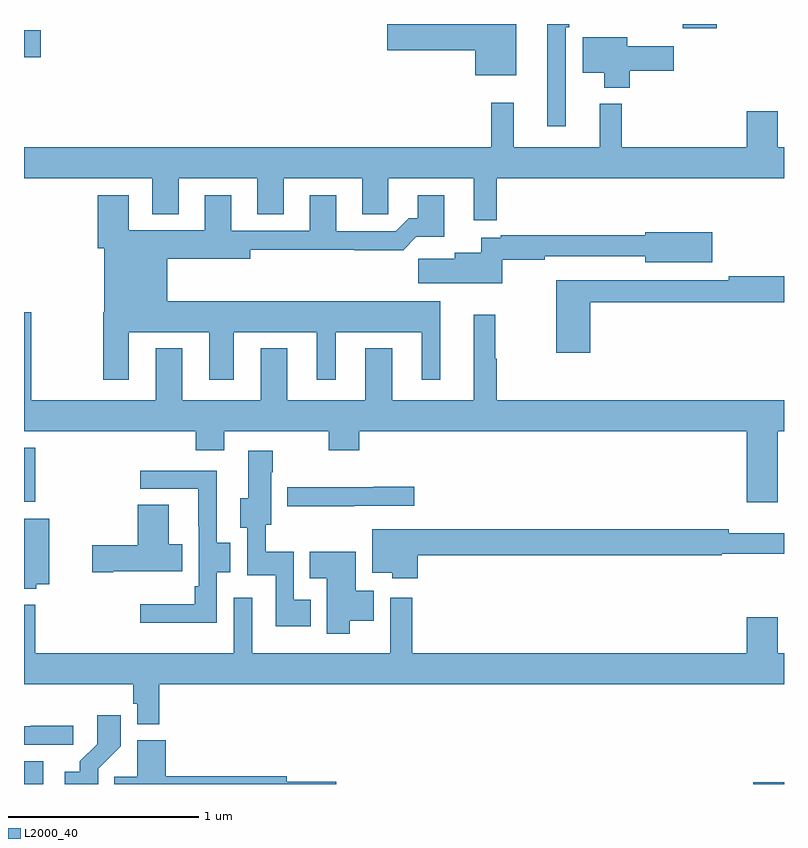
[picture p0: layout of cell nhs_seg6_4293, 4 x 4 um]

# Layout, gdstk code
import gdstk
lib = gdstk.Library(unit=1e-6, precision=1e-09)
def R(c, l, rs):  # rectangles x0, y0, x1, y1
    for r in rs: c.add(gdstk.rectangle(r[:2], r[2:], *l))
def P(c, l, *ps):  # polygons
    for p in ps: c.add(gdstk.Polygon(p, *l))
L2000_40 = (2000, 40)

nhs_seg6_4293 = lib.new_cell('nhs_seg6_4293')
R(nhs_seg6_4293, L2000_40, [(365,925.5,365.101,925.621), (368.837,925.5,369,925.508), (365,926.985,365.06,927.271), (365,929.326,365.089,929.468), (368.467,929.478,368.645,929.5)])
P(nhs_seg6_4293, L2000_40, [(367.591,929.5),(366.912,929.5),(366.912,929.363),(367.376,929.363),(367.376,929.231),(367.591,929.231)],
  [(367.851,929.483),(367.871,929.483),(367.871,929.5),(367.754,929.5),(367.754,928.962),(367.851,928.962)],
  [(368.189,929.254),(368.419,929.254),(368.419,929.383),(368.176,929.383),(368.176,929.431),(367.94,929.431),(367.94,929.243),(368.054,929.243),(368.054,929.165),(368.189,929.165)],
  [(367.489,928.688),(369,928.688),(369,928.852),(368.968,928.852),(368.968,929.041),(368.804,929.041),(368.804,928.852),(368.147,928.852),(368.147,929.08),(368.03,929.08),(368.03,928.852),(367.577,928.852),(367.577,929.086),(367.459,929.086),(367.459,928.852),(365,928.852),(365,928.688),(365.675,928.688),(365.675,928.499),(365.815,928.499),(365.815,928.688),(366.227,928.688),(366.227,928.498),(366.367,928.498),(366.367,928.688),(366.779,928.688),(366.779,928.498),(366.918,928.498),(366.918,928.688),(367.367,928.688),(367.367,928.467),(367.489,928.467)],
  [(365.551,927.878),(365.975,927.878),(365.975,927.627),(366.103,927.627),(366.103,927.878),(366.542,927.878),(366.542,927.627),(366.64,927.627),(366.64,927.878),(367.094,927.878),(367.094,927.627),(367.192,927.627),(367.192,928.042),(365.755,928.042),(365.755,928.265),(366.19,928.265),(366.19,928.312),(366.739,928.312),(366.739,928.31),(366.995,928.31),(367.064,928.379),(367.213,928.379),(367.213,928.6),(367.073,928.6),(367.073,928.477),(367.024,928.477),(366.957,928.41),(366.643,928.41),(366.643,928.6),(366.503,928.6),(366.503,928.413),(366.091,928.413),(366.091,928.6),(365.951,928.6),(365.951,928.414),(365.551,928.414),(365.551,928.6),(365.387,928.6),(365.387,928.32),(365.423,928.32),(365.423,927.982),(365.416,927.982),(365.416,927.627),(365.551,927.627)],
  [(367.516,928.258),(367.742,928.258),(367.742,928.278),(368.27,928.278),(368.27,928.247),(368.623,928.247),(368.623,928.405),(368.27,928.405),(368.27,928.387),(367.51,928.387),(367.51,928.374),(367.406,928.374),(367.406,928.297),(367.268,928.297),(367.268,928.265),(367.074,928.265),(367.074,928.136),(367.516,928.136)],
  [(367.979,928.036),(369,928.036),(369,928.172),(368.71,928.172),(368.71,928.152),(367.801,928.152),(367.801,927.771),(367.979,927.771)],
  [(368.968,927.356),(369,927.356),(369,927.52),(367.489,927.52),(367.489,927.737),(367.481,927.737),(367.481,927.97),(367.367,927.97),(367.367,927.52),(366.937,927.52),(366.937,927.793),(366.797,927.793),(366.797,927.52),(366.385,927.52),(366.385,927.793),(366.245,927.793),(366.245,927.52),(365.833,927.52),(365.833,927.793),(365.693,927.793),(365.693,927.52),(365.037,927.52),(365.037,927.982),(365,927.982),(365,927.356),(365.903,927.356),(365.903,927.257),(366.055,927.257),(366.055,927.356),(366.604,927.356),(366.604,927.257),(366.764,927.257),(366.764,927.356),(368.804,927.356),(368.804,926.982),(368.968,926.982)],
  [(366.508,926.47),(366.42,926.47),(366.42,926.722),(366.273,926.722),(366.273,926.864),(366.301,926.864),(366.301,927.14),(366.309,927.14),(366.309,927.253),(366.179,927.253),(366.179,927.003),(366.137,927.003),(366.137,926.848),(366.174,926.848),(366.174,926.6),(366.324,926.6),(366.324,926.33),(366.508,926.33)],
  [(366.015,926.614),(366.085,926.614),(366.085,926.769),(366.015,926.769),(366.015,927.15),(365.613,927.15),(365.613,927.054),(365.918,927.054),(365.918,926.857),(365.919,926.857),(365.919,926.542),(365.899,926.542),(365.899,926.446),(365.613,926.446),(365.613,926.348),(366.015,926.348)],
  [(366.737,926.964),(367.054,926.964),(367.054,927.065),(366.841,927.065),(366.841,927.062),(366.386,927.062),(366.386,926.962),(366.737,926.962)],
  [(365.47,926.621),(365.834,926.621),(365.834,926.761),(365.761,926.761),(365.761,926.969),(365.599,926.969),(365.599,926.756),(365.358,926.756),(365.358,926.614),(365.47,926.614)],
  [(365.064,926.552),(365.134,926.552),(365.134,926.896),(365,926.896),(365,926.528),(365.064,926.528)],
  [(367.073,926.704),(368.673,926.704),(368.673,926.712),(369,926.712),(369,926.821),(368.708,926.821),(368.708,926.84),(367.056,926.84),(367.056,926.842),(366.833,926.842),(366.833,926.612),(366.938,926.612),(366.938,926.582),(367.073,926.582)],
  [(366.715,926.36),(366.842,926.36),(366.842,926.518),(366.745,926.518),(366.745,926.722),(366.505,926.722),(366.505,926.582),(366.593,926.582),(366.593,926.292),(366.715,926.292)],
  [(365.711,926.024),(369,926.024),(369,926.188),(368.968,926.188),(368.968,926.377),(368.804,926.377),(368.804,926.188),(367.043,926.188),(367.043,926.479),(366.927,926.479),(366.927,926.188),(366.201,926.188),(366.201,926.479),(366.105,926.479),(366.105,926.188),(365.06,926.188),(365.06,926.443),(365,926.443),(365,926.024),(365.575,926.024),(365.575,925.923),(365.595,925.923),(365.595,925.814),(365.711,925.814)],
  [(365.391,925.579),(365.51,925.698),(365.51,925.861),(365.385,925.861),(365.385,925.709),(365.294,925.619),(365.294,925.564),(365.214,925.564),(365.214,925.5),(365.391,925.5)],
  [(365.26,925.806),(365.035,925.806),(365.035,925.803),(365,925.803),(365,925.707),(365.26,925.707)],
  [(366.643,925.511),(366.382,925.511),(366.382,925.54),(365.747,925.54),(365.747,925.729),(365.597,925.729),(365.597,925.538),(365.476,925.538),(365.476,925.5),(366.643,925.5)])

lib.write_gds('nhs_seg6_4293.gds')
